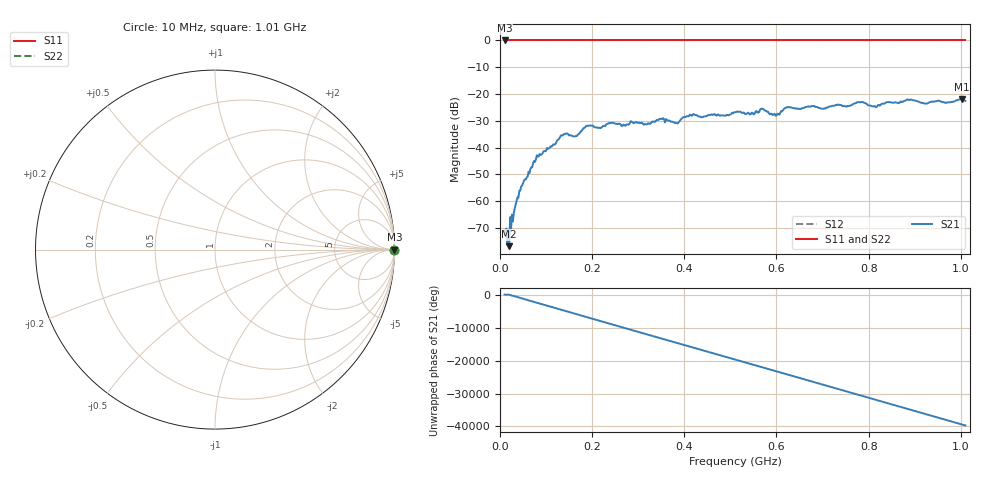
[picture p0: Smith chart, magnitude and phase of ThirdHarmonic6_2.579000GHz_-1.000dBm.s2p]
! 8/17/2025 5:27:04 AM
! C:\ANRITSUVNA\TEMP\TEMP.S2P
! CHANNEL.1
! TR.MEASUREMENT
! RAW.DATA
! RF.CORRECTION.OFF
! AVERAGING.OFF
! IF.BANDWIDTH: 5KHZ
! SWEEPTYPE:  FREQ.SWEEP(Linear)
! Reference Plane Port Info
! PORT:  PORT1  PORT2
! DISTANCE:  0  m  0  m
! TIME:  0  s  0  s
! PHASE.OFFSET:  0  deg.  0  deg.
! LOSS:  0  dB  0  dB
! REF.LOSS:  0  dB  0  dB
! REF.FREQ:  0  Hz  0  Hz
! Power Info
! POWER:  -20  dBm  -20  dBm
! EFF.POWER:  -20  dBm  -20  dBm
! SOURCE.ATTEN:  0  dB  0  dB
! TEST.ATTEN:  0  dB  0  dB
# GHZ S RI R 50.0
! FREQ.GHZ  S11RE  S11IM  S21RE  S21IM  S12RE  S12IM  S22RE  S22IM
!; PortSelection: Port_12
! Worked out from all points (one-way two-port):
!   501 points, 10 MHz to 1.01 GHz, reference 50 ohm
!   highest |S21| = -21.86 dB at 1.002 GHz (marker M1); lowest = -76.8 dB at 20 MHz (marker M2)
!   lowest |S11| = 0.0 dB at 10 MHz (marker M3)
!   |S11| at or under -10 dB: nowhere
!   |S22| runs from 0.0 to 0.0 dB; largest |S21 - S12| = 1.1
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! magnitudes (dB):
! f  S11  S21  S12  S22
! 10 MHz  0.0  -70.8  0.0  0.0
! 16 MHz  0.0  -76.3  0.0  0.0
! 20 MHz  0.0  -76.8  0.0  0.0
! 26 MHz  0.0  -65.0  0.0  0.0
! 42 MHz  0.0  -56.1  0.0  0.0
! 76 MHz  0.0  -45.3  0.0  0.0
! 136 MHz  0.0  -35.5  0.0  0.0
! 164 MHz  0.0  -35.7  0.0  0.0
! 178 MHz  0.0  -33.5  0.0  0.0
! 344 MHz  0.0  -29.7  0.0  0.0
! 384 MHz  0.0  -30.9  0.0  0.0
! 416 MHz  0.0  -28.1  0.0  0.0
! 510 MHz  0.0  -26.8  0.0  0.0
! 570 MHz  0.0  -25.5  0.0  0.0
! 602 MHz  0.0  -27.4  0.0  0.0
! 624 MHz  0.0  -24.8  0.0  0.0
! 678 MHz  0.0  -24.5  0.0  0.0
! 782 MHz  0.0  -23.1  0.0  0.0
! 814 MHz  0.0  -24.6  0.0  0.0
! 844 MHz  0.0  -23.0  0.0  0.0
! 1.002 GHz  0.0  -21.9  0.0  0.0
! 1.01 GHz  0.0  -22.5  0.0  0.0
